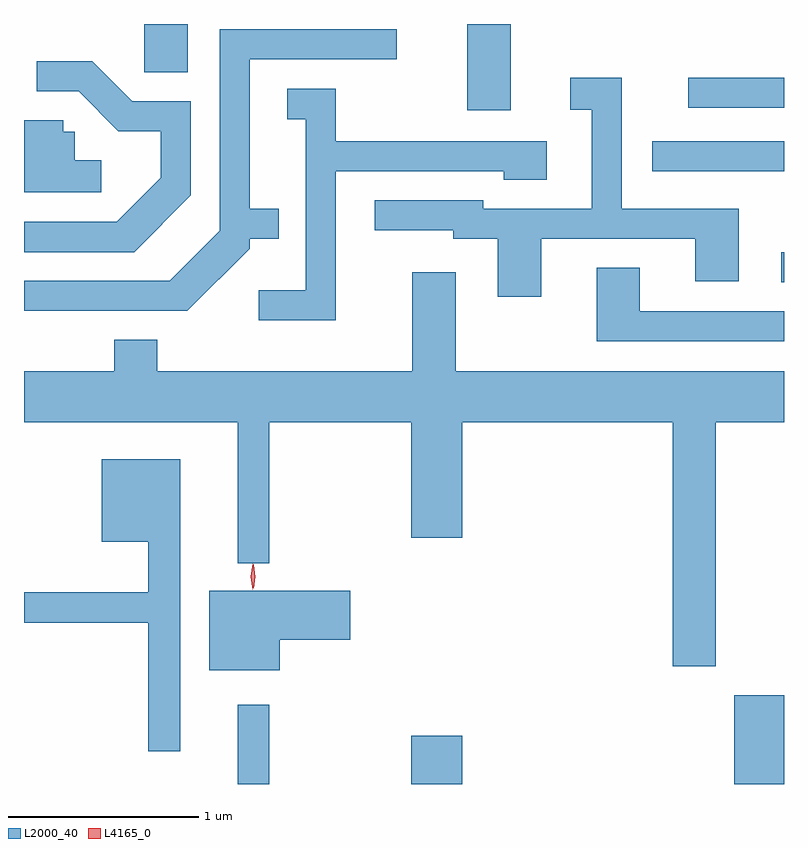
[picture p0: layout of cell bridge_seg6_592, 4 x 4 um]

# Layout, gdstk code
import gdstk
lib = gdstk.Library(unit=1e-6, precision=1e-09)
def R(c, l, rs):  # rectangles x0, y0, x1, y1
    for r in rs: c.add(gdstk.rectangle(r[:2], r[2:], *l))
def P(c, l, *ps):  # polygons
    for p in ps: c.add(gdstk.Polygon(p, *l))
L2000_40 = (2000, 40)
L4165_0 = (4165, 0)

bridge_seg6_592 = lib.new_cell('bridge_seg6_592')
R(bridge_seg6_592, L2000_40, [(573.801,1614.731,573.969,1615.148), (574.716,1614.731,574.984,1614.984), (576.416,1614.731,576.677,1615.199), (576.663,1617.371,576.677,1617.529), (575.983,1617.956,576.677,1618.114), (575.011,1618.276,575.239,1618.731), (576.173,1618.291,576.677,1618.449), (573.311,1618.476,573.539,1618.731)])
P(bridge_seg6_592, L2000_40, [(573.864,1617.549),(573.864,1617.601),(574.018,1617.601),(574.018,1617.759),(573.864,1617.759),(573.864,1618.546),(574.638,1618.546),(574.638,1618.704),(573.706,1618.704),(573.706,1617.642),(573.444,1617.379),(572.677,1617.379),(572.677,1617.221),(573.537,1617.221)],
  [(573.554,1617.829),(573.554,1618.324),(573.247,1618.324),(573.037,1618.534),(572.743,1618.534),(572.743,1618.376),(572.964,1618.376),(573.174,1618.166),(573.396,1618.166),(573.396,1617.922),(573.164,1617.689),(572.677,1617.689),(572.677,1617.531),(573.257,1617.531)],
  [(575.399,1617.601),(576.211,1617.601),(576.211,1617.376),(576.439,1617.376),(576.439,1617.759),(575.824,1617.759),(575.824,1618.449),(575.553,1618.449),(575.553,1618.281),(575.666,1618.281),(575.666,1617.759),(575.094,1617.759),(575.094,1617.804),(574.523,1617.804),(574.523,1617.646),(574.936,1617.646),(574.936,1617.601),(575.171,1617.601),(575.171,1617.296),(575.399,1617.296)],
  [(574.319,1617.956),(575.201,1617.956),(575.201,1617.911),(575.429,1617.911),(575.429,1618.114),(574.319,1618.114),(574.319,1618.389),(574.063,1618.389),(574.063,1618.231),(574.161,1618.231),(574.161,1617.329),(573.913,1617.329),(573.913,1617.171),(574.319,1617.171)],
  [(573.083,1618.014),(572.944,1618.014),(572.944,1618.164),(572.884,1618.164),(572.884,1618.224),(572.677,1618.224),(572.677,1617.846),(573.083,1617.846)],
  [(576.677,1617.219),(575.919,1617.219),(575.919,1617.449),(575.691,1617.449),(575.691,1617.061),(576.677,1617.061)],
  [(576.319,1616.636),(576.677,1616.636),(576.677,1616.904),(574.949,1616.904),(574.949,1617.424),(574.721,1617.424),(574.721,1616.904),(573.379,1616.904),(573.379,1617.069),(573.151,1617.069),(573.151,1616.904),(572.677,1616.904),(572.677,1616.636),(573.801,1616.636),(573.801,1615.893),(573.969,1615.893),(573.969,1616.636),(574.716,1616.636),(574.716,1616.026),(574.984,1616.026),(574.984,1616.636),(576.091,1616.636),(576.091,1615.351),(576.319,1615.351)],
  [(573.499,1616.439),(573.086,1616.439),(573.086,1616.006),(573.331,1616.006),(573.331,1615.739),(572.677,1615.739),(572.677,1615.581),(573.331,1615.581),(573.331,1614.903),(573.499,1614.903)],
  [(574.024,1615.491),(574.394,1615.491),(574.394,1615.749),(573.651,1615.749),(573.651,1615.331),(574.024,1615.331)])
P(bridge_seg6_592, L4165_0, [(573.885,1615.76),(573.885,1615.76),(573.875,1615.823),(573.884,1615.886),(573.885,1615.887),(573.885,1615.886),(573.895,1615.823),(573.886,1615.76)],
  [(573.88,1615.754),(573.88,1615.754),(573.871,1615.822),(573.881,1615.89),(573.882,1615.89),(573.882,1615.89),(573.891,1615.822),(573.881,1615.754)])

lib.write_gds('bridge_seg6_592.gds')
